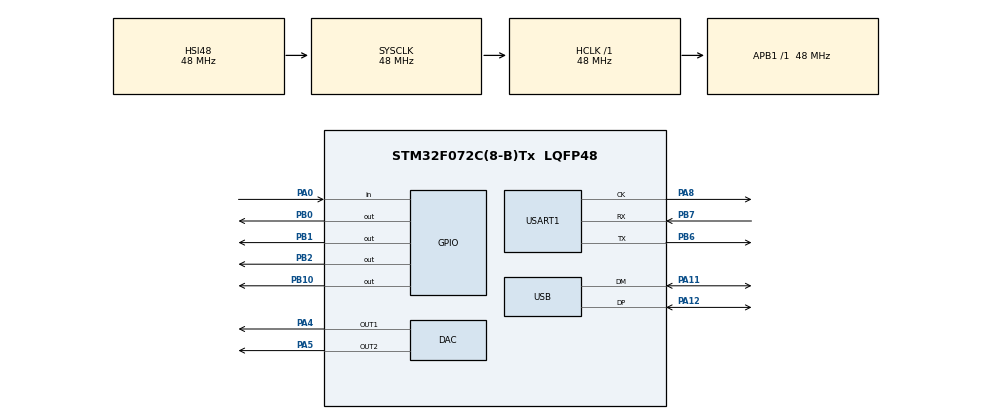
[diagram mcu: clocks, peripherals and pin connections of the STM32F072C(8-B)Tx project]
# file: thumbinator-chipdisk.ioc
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Mcu.Family=STM32F0
Mcu.Name=STM32F072C(8-B)Tx
Mcu.Package=LQFP48
NVIC.USB_IRQn=true\:0\:0\:false\:false\:true
PA0.Signal=GPIO_Input
PA11.Mode=Device
PA11.Signal=USB_DM
PA12.Mode=Device
PA12.Signal=USB_DP
PA13.Mode=Serial_Wire
PA13.Signal=SYS_SWDIO
PA14.Mode=Serial_Wire
PA14.Signal=SYS_SWCLK
PA4.Signal=COMP_DAC1_group
PA5.Signal=COMP_DAC2_group
PA8.Mode=Synchronous
PA8.Signal=USART1_CK
PB0.Signal=GPIO_Output
PB1.Signal=GPIO_Output
PB10.Signal=GPIO_Output
PB2.Signal=GPIO_Output
PB6.Mode=Synchronous
PB6.Signal=USART1_TX
PB7.Mode=Synchronous
PB7.Signal=USART1_RX
PF0-OSC_IN.Mode=HSE-External-Oscillator
PF0-OSC_IN.Signal=RCC_OSC_IN
PF1-OSC_OUT.Mode=HSE-External-Oscillator
PF1-OSC_OUT.Signal=RCC_OSC_OUT
ProjectManager.HeapSize=0x200
ProjectManager.StackSize=0x400
ProjectManager.TargetToolchain=SW4STM32
RCC.AHBFreq_Value=48000000
RCC.APB1Freq_Value=48000000
RCC.APB1TimFreq_Value=48000000
RCC.HCLKFreq_Value=48000000
RCC.SYSCLKFreq_VALUE=48000000
RCC.SYSCLKSource=RCC_SYSCLKSOURCE_HSI48
SH.COMP_DAC1_group.0=DAC_OUT1,DAC_OUT1
SH.COMP_DAC2_group.0=DAC_OUT2,DAC_OUT2
USART1.VirtualMode-Synchronous=VM_SYNC
USB_DEVICE.CLASS_NAME_FS=CDC
USB_DEVICE.USBD_HandleTypeDef=hUsbDeviceFS
USB_DEVICE.VirtualMode=Cdc
USB_DEVICE.VirtualModeFS=Cdc_FS
VP_USB_DEVICE_VS_USB_DEVICE_CDC_FS.Mode=CDC_FS
board=thumbinator-chipdisk

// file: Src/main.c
/**
  ******************************************************************************
  * File Name          : main.c
  * Description        : Main program body
  ******************************************************************************
  *
  * Copyright (c) 2016 STMicroelectronics International N.V.
  * All rights reserved.
  *
  * Redistribution and use in source and binary forms, with or without
  * modification, are permitted, provided that the following conditions are met:
  *
  * 1. Redistribution of source code must retain the above copyright notice,
  *    this list of conditions and the following disclaimer.
  * 2. Redistributions in binary form must reproduce the above copyright notice,
  *    this list of conditions and the following disclaimer in the documentation
  *    and/or other materials provided with the distribution.
  * 3. Neither the name of STMicroelectronics nor the names of other
  *    contributors to this software may be used to endorse or promote products
  *    derived from this software without specific written permission.
  * 4. This software, including modifications and/or derivative works of this
  *    software, must execute solely and exclusively on microcontroller or
  *    microprocessor devices manufactured by or for STMicroelectronics.
  * 5. Redistribution and use of this software other than as permitted under
  *    this license is void and will automatically terminate your rights under
  *    this license.
  *
  * THIS SOFTWARE IS PROVIDED BY STMICROELECTRONICS AND CONTRIBUTORS "AS IS"
  * AND ANY EXPRESS, IMPLIED OR STATUTORY WARRANTIES, INCLUDING, BUT NOT
  * LIMITED TO, THE IMPLIED WARRANTIES OF MERCHANTABILITY, FITNESS FOR A
  * PARTICULAR PURPOSE AND NON-INFRINGEMENT OF THIRD PARTY INTELLECTUAL PROPERTY
  * RIGHTS ARE DISCLAIMED TO THE FULLEST EXTENT PERMITTED BY LAW. IN NO EVENT
  * SHALL STMICROELECTRONICS OR CONTRIBUTORS BE LIABLE FOR ANY DIRECT, INDIRECT,
  * INCIDENTAL, SPECIAL, EXEMPLARY, OR CONSEQUENTIAL DAMAGES (INCLUDING, BUT NOT
  * LIMITED TO, PROCUREMENT OF SUBSTITUTE GOODS OR SERVICES; LOSS OF USE, DATA,
  * OR PROFITS; OR BUSINESS INTERRUPTION) HOWEVER CAUSED AND ON ANY THEORY OF
  * LIABILITY, WHETHER IN CONTRACT, STRICT LIABILITY, OR TORT (INCLUDING
  * NEGLIGENCE OR OTHERWISE) ARISING IN ANY WAY OUT OF THE USE OF THIS SOFTWARE,
  * EVEN IF ADVISED OF THE POSSIBILITY OF SUCH DAMAGE.
  *
  ******************************************************************************
  */
#include "main.h"
#include "stm32f0xx_hal.h"
#include "usb_device.h"

/* USER CODE BEGIN Includes */
#include "micromod.h"
//#include "MO_LGND.h"
#include "test.h"

/* USER CODE END Includes */

DAC_HandleTypeDef hdac;

USART_HandleTypeDef husart1;

/* USER CODE BEGIN PV */
/* Private variables ---------------------------------------------------------*/
int16_t song_length;
int16_t buffer[1024];
/* USER CODE END PV */

void SystemClock_Config(void);
void Error_Handler(void);
static void MX_GPIO_Init(void);
static void MX_USART1_Init(void);
static void MX_DAC_Init(void);

/* USER CODE BEGIN PFP */
/* Private function prototypes -----------------------------------------------*/

/* USER CODE END PFP */

int main(void)
{

  /* MCU Configuration----------------------------------------------------------*/

  /* Reset of all peripherals, Initializes the Flash interface and the Systick. */
  HAL_Init();

  /* Configure the system clock */
  SystemClock_Config();

  /* Initialize all configured peripherals */
  MX_GPIO_Init();
  MX_USART1_Init();
  MX_USB_DEVICE_Init();
  MX_DAC_Init();

  /* USER CODE BEGIN 2 */
  song_length = micromod_calculate_mod_file_len(chiptune);

  micromod_initialise(chiptune, 48000);
  /* USER CODE END 2 */

  /* Infinite loop */
  while (1)
  {

  /* USER CODE BEGIN 3 */
      int i;
      for (i = 0; i < sizeof(buffer)/2; i++) {
        buffer[i] = 0;
      }
      HAL_GPIO_TogglePin(GPIOB, GPIO_PIN_1);
      micromod_get_audio(buffer, sizeof(buffer));
#if 1
      for (i = 0; i < sizeof(buffer)/4; i++) {
//        if (buffer[i*2] > 1500) {
        if (buffer[i*2] > 000) {
          HAL_GPIO_WritePin(GPIOB, GPIO_PIN_0, GPIO_PIN_SET);
        }
        else {
          HAL_GPIO_WritePin(GPIOB, GPIO_PIN_0, GPIO_PIN_RESET);
        }
        {
          volatile int zz;
          for (zz = 0; zz < 150; zz++);
        }
      }
//      while (1);
#else
/*
    HAL_GPIO_WritePin(GPIOB, GPIO_PIN_0, GPIO_PIN_SET);
    HAL_Delay(100);
    HAL_GPIO_WritePin(GPIOB, GPIO_PIN_0, GPIO_PIN_RESET);
    HAL_Delay(100);
*/
#endif

  }
  /* USER CODE END 3 */

}

/** System Clock Configuration
*/
void SystemClock_Config(void)
{

  RCC_OscInitTypeDef RCC_OscInitStruct;
  RCC_ClkInitTypeDef RCC_ClkInitStruct;
  RCC_PeriphCLKInitTypeDef PeriphClkInit;

    /**Initializes the CPU, AHB and APB busses clocks
    */
  RCC_OscInitStruct.OscillatorType = RCC_OSCILLATORTYPE_HSI48;
  RCC_OscInitStruct.HSI48State = RCC_HSI48_ON;
  RCC_OscInitStruct.PLL.PLLState = RCC_PLL_NONE;
  if (HAL_RCC_OscConfig(&RCC_OscInitStruct) != HAL_OK)
  {
    Error_Handler();
  }

    /**Initializes the CPU, AHB and APB busses clocks
    */
  RCC_ClkInitStruct.ClockType = RCC_CLOCKTYPE_HCLK|RCC_CLOCKTYPE_SYSCLK
                              |RCC_CLOCKTYPE_PCLK1;
  RCC_ClkInitStruct.SYSCLKSource = RCC_SYSCLKSOURCE_HSI48;
  RCC_ClkInitStruct.AHBCLKDivider = RCC_SYSCLK_DIV1;
  RCC_ClkInitStruct.APB1CLKDivider = RCC_HCLK_DIV1;

  if (HAL_RCC_ClockConfig(&RCC_ClkInitStruct, FLASH_LATENCY_1) != HAL_OK)
  {
    Error_Handler();
  }

  PeriphClkInit.PeriphClockSelection = RCC_PERIPHCLK_USB|RCC_PERIPHCLK_USART1;
  PeriphClkInit.Usart1ClockSelection = RCC_USART1CLKSOURCE_PCLK1;
  PeriphClkInit.UsbClockSelection = RCC_USBCLKSOURCE_HSI48;

  if (HAL_RCCEx_PeriphCLKConfig(&PeriphClkInit) != HAL_OK)
  {
    Error_Handler();
  }

    /**Configure the Systick interrupt time
    */
  HAL_SYSTICK_Config(HAL_RCC_GetHCLKFreq()/1000);

    /**Configure the Systick
    */
  HAL_SYSTICK_CLKSourceConfig(SYSTICK_CLKSOURCE_HCLK);

  /* SysTick_IRQn interrupt configuration */
  HAL_NVIC_SetPriority(SysTick_IRQn, 0, 0);
}

/* DAC init function */
static void MX_DAC_Init(void)
{

  DAC_ChannelConfTypeDef sConfig;

    /**DAC Initialization
    */
  hdac.Instance = DAC;
  if (HAL_DAC_Init(&hdac) != HAL_OK)
  {
    Error_Handler();
  }

    /**DAC channel OUT1 config
    */
  sConfig.DAC_Trigger = DAC_TRIGGER_NONE;
  sConfig.DAC_OutputBuffer = DAC_OUTPUTBUFFER_ENABLE;
  if (HAL_DAC_ConfigChannel(&hdac, &sConfig, DAC_CHANNEL_1) != HAL_OK)
  {
    Error_Handler();
  }

    /**DAC channel OUT2 config
    */
  if (HAL_DAC_ConfigChannel(&hdac, &sConfig, DAC_CHANNEL_2) != HAL_OK)
  {
    Error_Handler();
  }

}

/* USART1 init function */
static void MX_USART1_Init(void)
{

  husart1.Instance = USART1;
  husart1.Init.BaudRate = 38400;
  husart1.Init.WordLength = USART_WORDLENGTH_7B;
  husart1.Init.StopBits = USART_STOPBITS_1;
  husart1.Init.Parity = USART_PARITY_NONE;
  husart1.Init.Mode = USART_MODE_TX_RX;
  husart1.Init.CLKPolarity = USART_POLARITY_LOW;
  husart1.Init.CLKPhase = USART_PHASE_1EDGE;
  husart1.Init.CLKLastBit = USART_LASTBIT_DISABLE;
  if (HAL_USART_Init(&husart1) != HAL_OK)
  {
    Error_Handler();
  }

}

/** Configure pins as
        * Analog
        * Input
        * Output
        * EVENT_OUT
        * EXTI
*/
static void MX_GPIO_Init(void)
{

  GPIO_InitTypeDef GPIO_InitStruct;

  /* GPIO Ports Clock Enable */
  __HAL_RCC_GPIOF_CLK_ENABLE();
  __HAL_RCC_GPIOA_CLK_ENABLE();
  __HAL_RCC_GPIOB_CLK_ENABLE();

  /*Configure GPIO pin : PA0 */
  GPIO_InitStruct.Pin = GPIO_PIN_0;
  GPIO_InitStruct.Mode = GPIO_MODE_INPUT;
  GPIO_InitStruct.Pull = GPIO_NOPULL;
  HAL_GPIO_Init(GPIOA, &GPIO_InitStruct);

  /*Configure GPIO pins : PB0 PB1 PB2 PB10 */
  GPIO_InitStruct.Pin = GPIO_PIN_0|GPIO_PIN_1|GPIO_PIN_2|GPIO_PIN_10;
  GPIO_InitStruct.Mode = GPIO_MODE_OUTPUT_PP;
  GPIO_InitStruct.Pull = GPIO_NOPULL;
  GPIO_InitStruct.Speed = GPIO_SPEED_FREQ_LOW;
  HAL_GPIO_Init(GPIOB, &GPIO_InitStruct);

  /*Configure GPIO pin Output Level */
  HAL_GPIO_WritePin(GPIOB, GPIO_PIN_0|GPIO_PIN_1|GPIO_PIN_2|GPIO_PIN_10, GPIO_PIN_RESET);

}

void Error_Handler(void)
{
  while(1)
  {
  }
}

/************************ (C) COPYRIGHT STMicroelectronics *****END OF FILE****/
